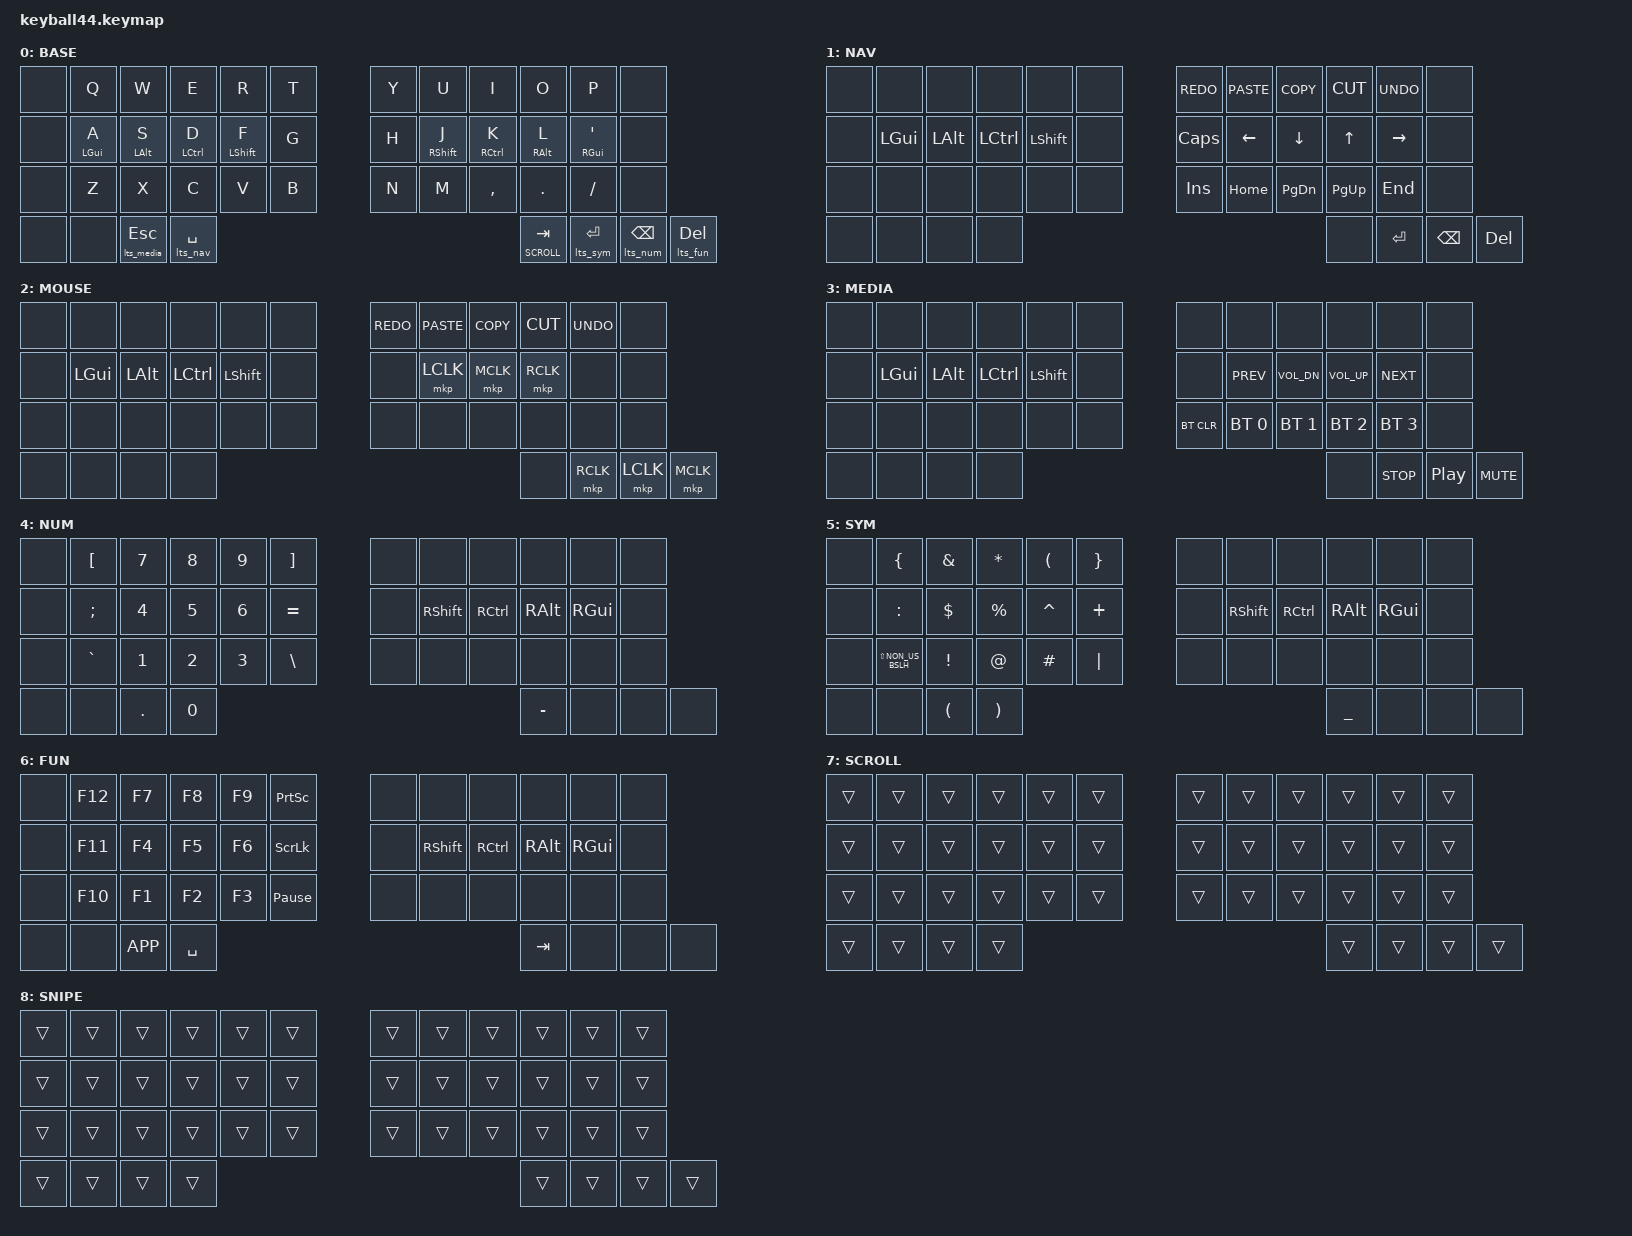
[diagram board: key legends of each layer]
#define BASE    0
#define NAV     1
#define MOUSE   2
#define MEDIA   3
#define NUM     4
#define SYM     5
#define FUN     6
#define SCROLL  7
#define SNIPE   8

#include <behaviors/mouse_keys.dtsi>
#include <behaviors.dtsi>
#include <behaviors/unicode.dtsi>
#include <dt-bindings/zmk/bt.h>
#include <dt-bindings/zmk/keys.h>
#include <dt-bindings/zmk/mouse.h>

// Configure Unicode for macOS
&uc {
    default-mode = <UC_MODE_MACOS>;
};

&lt {
    tapping-term-ms = <240>;
    flavor = "balanced";
    quick-tap-ms = <150>;
};

&mt {
    tapping-term-ms = <200>;
    flavor = "tap-preferred";
    quick-tap-ms = <150>;
};

&caps_word { continue-list = <UNDERSCORE MINUS>; };

/ {
    macros {
        // Layer + F-key signal macros (press layer AND F-key, release both)
        // Using F13, F16-F20 to avoid macOS brightness keys (F14=bright down, F15=bright up)
        // NAV layer with F13 signal
        lts_nav: lts_nav {
            compatible = "zmk,behavior-macro";
            #binding-cells = <0>;
            wait-ms = <0>;
            tap-ms = <0>;
            bindings = <&macro_press &mo NAV &kp F13>, <&macro_pause_for_release>, <&macro_release &mo NAV &kp F13>;
        };
        
        // MEDIA layer with F16 signal
        lts_media: lts_media {
            compatible = "zmk,behavior-macro";
            #binding-cells = <0>;
            wait-ms = <0>;
            tap-ms = <0>;
            bindings = <&macro_press &mo MEDIA &kp F16>, <&macro_pause_for_release>, <&macro_release &mo MEDIA &kp F16>;
        };
        
        // MOUSE layer with F17 signal
        lts_mouse: lts_mouse {
            compatible = "zmk,behavior-macro";
            #binding-cells = <0>;
            wait-ms = <0>;
            tap-ms = <0>;
            bindings = <&macro_press &mo MOUSE &kp F17>, <&macro_pause_for_release>, <&macro_release &mo MOUSE &kp F17>;
        };
        
        // SYM layer with F18 signal
        lts_sym: lts_sym {
            compatible = "zmk,behavior-macro";
            #binding-cells = <0>;
            wait-ms = <0>;
            tap-ms = <0>;
            bindings = <&macro_press &mo SYM &kp F18>, <&macro_pause_for_release>, <&macro_release &mo SYM &kp F18>;
        };
        
        // NUM layer with F19 signal
        lts_num: lts_num {
            compatible = "zmk,behavior-macro";
            #binding-cells = <0>;
            wait-ms = <0>;
            tap-ms = <0>;
            bindings = <&macro_press &mo NUM &kp F19>, <&macro_pause_for_release>, <&macro_release &mo NUM &kp F19>;
        };
        
        // FUN layer with F20 signal
        lts_fun: lts_fun {
            compatible = "zmk,behavior-macro";
            #binding-cells = <0>;
            wait-ms = <0>;
            tap-ms = <0>;
            bindings = <&macro_press &mo FUN &kp F20>, <&macro_pause_for_release>, <&macro_release &mo FUN &kp F20>;
        };
        
        // SCROLL layer (no F-key signal needed, just layer)
        lts_scroll: lts_scroll {
            compatible = "zmk,behavior-macro";
            #binding-cells = <0>;
            wait-ms = <0>;
            tap-ms = <0>;
            bindings = <&macro_press &mo SCROLL>, <&macro_pause_for_release>, <&macro_release &mo SCROLL>;
        };
    };

    behaviors {
        // Hold-tap: hold = layer+signal macro, tap = key
        ht_nav: hold_tap_nav {
            compatible = "zmk,behavior-hold-tap";
            #binding-cells = <2>;
            tapping-term-ms = <240>;
            flavor = "balanced";
            quick-tap-ms = <150>;
            bindings = <&lts_nav>, <&kp>;
        };
        
        ht_media: hold_tap_media {
            compatible = "zmk,behavior-hold-tap";
            #binding-cells = <2>;
            tapping-term-ms = <240>;
            flavor = "balanced";
            quick-tap-ms = <150>;
            bindings = <&lts_media>, <&kp>;
        };
        
        ht_mouse: hold_tap_mouse {
            compatible = "zmk,behavior-hold-tap";
            #binding-cells = <2>;
            tapping-term-ms = <240>;
            flavor = "balanced";
            quick-tap-ms = <150>;
            bindings = <&lts_mouse>, <&kp>;
        };
        
        ht_sym: hold_tap_sym {
            compatible = "zmk,behavior-hold-tap";
            #binding-cells = <2>;
            tapping-term-ms = <240>;
            flavor = "balanced";
            quick-tap-ms = <150>;
            bindings = <&lts_sym>, <&kp>;
        };
        
        ht_num: hold_tap_num {
            compatible = "zmk,behavior-hold-tap";
            #binding-cells = <2>;
            tapping-term-ms = <240>;
            flavor = "balanced";
            quick-tap-ms = <150>;
            bindings = <&lts_num>, <&kp>;
        };
        
        ht_fun: hold_tap_fun {
            compatible = "zmk,behavior-hold-tap";
            #binding-cells = <2>;
            tapping-term-ms = <240>;
            flavor = "balanced";
            quick-tap-ms = <150>;
            bindings = <&lts_fun>, <&kp>;
        };
        
        ht_scroll: hold_tap_scroll {
            compatible = "zmk,behavior-hold-tap";
            #binding-cells = <2>;
            tapping-term-ms = <240>;
            flavor = "balanced";
            quick-tap-ms = <150>;
            bindings = <&lts_scroll>, <&kp>;
        };

        cmqus: comma_question {
            compatible = "zmk,behavior-mod-morph";
            label = "COMMA_QUESTION";
            #binding-cells = <0>;
            bindings = <&kp COMMA>, <&kp QUESTION>;

            mods = <(MOD_LSFT|MOD_RSFT)>;
        };

        dtsmi: dot_semi {
            compatible = "zmk,behavior-mod-morph";
            label = "DOT_SEMI";
            #binding-cells = <0>;
            bindings = <&kp DOT>, <&kp SEMI>;

            mods = <(MOD_LSFT|MOD_RSFT)>;
        };
    };

    keymap {
        compatible = "zmk,keymap";

        base_layer {
            label = "BASE";
            bindings = <
&none           &kp Q         &kp W        &kp E         &kp R         &kp T                      &kp Y          &kp U         &kp I         &kp O        &kp P            &none
&none           &mt LGUI A    &mt LALT S   &mt LCTRL D   &mt LSHFT F   &kp G                      &kp H          &mt RSHFT J   &mt RCTRL K   &mt RALT L   &mt RGUI SQT     &none
&none           &kp Z         &kp X        &kp C         &kp V         &kp B                      &kp N          &kp M         &kp COMMA     &kp DOT      &kp SLASH        &none
&none           &none         &ht_media 0 ESCAPE &ht_nav 0 SPACE &lt SCROLL TAB            &ht_sym 0 ENTER  &ht_num 0 BACKSPACE                                                    &ht_fun 0 DELETE
            >;
        };

        nav_layer {
            label = "NAV";
            bindings = <
&none   &none     &none     &none      &none      &none                &kp K_REDO  &kp K_PASTE  &kp K_COPY    &kp K_CUT   &kp K_UNDO  &none
&none   &kp LGUI  &kp LALT  &kp LCTRL  &kp LSHFT  &none                &kp CAPS    &kp LEFT     &kp DOWN      &kp UP      &kp RIGHT   &none
&none   &none     &none     &none      &none      &none                &kp INS     &kp HOME     &kp PG_DN     &kp PG_UP   &kp END     &none
&none   &none     &none     &none      &none                   &kp ENTER  &kp BACKSPACE                                              &kp DELETE
            >;
        };

        mouse_layer {
            label = "MOUSE";
            bindings = <
&none   &none     &none     &none      &none      &none                &kp K_REDO  &kp K_PASTE  &kp K_COPY  &kp K_CUT  &kp K_UNDO  &none
&none   &kp LGUI  &kp LALT  &kp LCTRL  &kp LSHFT  &none                &none       &mkp LCLK    &mkp MCLK   &mkp RCLK  &none       &none
&none   &none     &none     &none      &none      &none                &none       &none        &none       &none      &none       &none
&none   &none     &none     &none      &none                   &mkp RCLK  &mkp LCLK                                                &mkp MCLK
            >;
        };

        media_layer {
            label = "MEDIA";
            bindings = <
&none   &none     &none     &none      &none      &none                &none       &none        &none         &none         &none       &none
&none   &kp LGUI  &kp LALT  &kp LCTRL  &kp LSHFT  &none                &none       &kp C_PREV   &kp C_VOL_DN  &kp C_VOL_UP  &kp C_NEXT  &none
&none   &none     &none     &none      &none      &none                &bt BT_CLR  &bt BT_SEL 0 &bt BT_SEL 1  &bt BT_SEL 2  &bt BT_SEL 3 &none
&none   &none     &none     &none      &none                   &kp C_STOP  &kp C_PP                                                    &kp C_MUTE
            >;
        };

        num_layer {
            label = "NUM";
            bindings = <
&none   &kp LBKT   &kp N7  &kp N8   &kp N9  &kp RBKT               &none   &none      &none      &none     &none     &none
&none   &kp SEMI   &kp N4  &kp N5   &kp N6  &kp EQUAL              &none   &kp RSHFT  &kp RCTRL  &kp RALT  &kp RGUI  &none
&none   &kp GRAVE  &kp N1  &kp N2   &kp N3  &kp BSLH               &none   &none      &none      &none     &none     &none
&none   &none      &kp DOT &kp N0   &kp MINUS               &none  &none                                             &none
            >;
        };

        sym_layer {
            label = "SYM";
            bindings = <
&none   &kp LBRC   &kp AMPS  &kp ASTRK  &kp LPAR   &kp RBRC               &none   &none      &none      &none     &none     &none
&none   &kp COLON  &kp DLLR  &kp PRCNT  &kp CARET  &kp PLUS               &none   &kp RSHFT  &kp RCTRL  &kp RALT  &kp RGUI  &none
&none   &kp LS(NON_US_BSLH)  &kp EXCL  &kp AT     &kp HASH   &kp PIPE               &none   &none      &none      &none     &none     &none
&none   &none      &kp LPAR  &kp RPAR   &kp UNDER               &none  &none                                                &none
            >;
        };

        fun_layer {
            label = "FUN";
            bindings = <
&none   &kp F12  &kp F7  &kp F8   &kp F9   &kp PSCRN              &none   &none      &none      &none     &none     &none
&none   &kp F11  &kp F4  &kp F5   &kp F6   &kp SLCK               &none   &kp RSHFT  &kp RCTRL  &kp RALT  &kp RGUI  &none
&none   &kp F10  &kp F1  &kp F2   &kp F3   &kp PAUSE_BREAK        &none   &none      &none      &none     &none     &none
&none   &none    &kp K_APP &kp SPACE &kp TAB             &none  &none                                               &none
            >;
        };

        scroll_layer {
            label = "SCROLL";
            bindings = <
&trans  &trans  &trans  &trans  &trans  &trans              &trans  &trans  &trans  &trans  &trans  &trans
&trans  &trans  &trans  &trans  &trans  &trans              &trans  &trans  &trans  &trans  &trans  &trans
&trans  &trans  &trans  &trans  &trans  &trans              &trans  &trans  &trans  &trans  &trans  &trans
&trans  &trans  &trans  &trans  &trans              &trans  &trans                                  &trans
            >;
        };

        snipe_layer {
            label = "SNIPE";
            bindings = <
&trans  &trans  &trans  &trans  &trans  &trans              &trans  &trans  &trans  &trans  &trans  &trans
&trans  &trans  &trans  &trans  &trans  &trans              &trans  &trans  &trans  &trans  &trans  &trans
&trans  &trans  &trans  &trans  &trans  &trans              &trans  &trans  &trans  &trans  &trans  &trans
&trans  &trans  &trans  &trans  &trans              &trans  &trans                                  &trans
            >;
        };
    };
};
